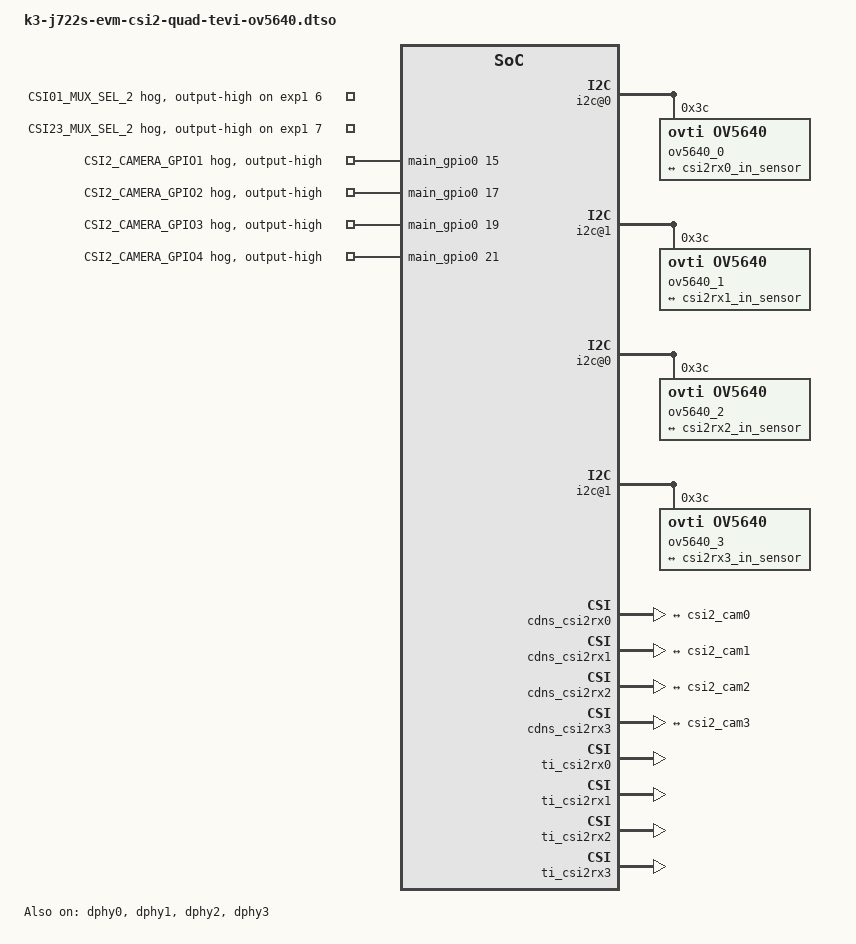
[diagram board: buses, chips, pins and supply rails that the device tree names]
// SPDX-License-Identifier: GPL-2.0
/*
 * 4 x TEVI OV5640 MIPI Camera module on RPI camera connector.
 *
 * Copyright (C) 2024 Texas Instruments Incorporated - https://www.ti.com/
 */

/dts-v1/;
/plugin/;

#include <dt-bindings/gpio/gpio.h>
#include "k3-pinctrl.h"

&{/} {
	clk_ov5640_fixed: ov5640-xclk {
		compatible = "fixed-clock";
		#clock-cells = <0>;
		clock-frequency = <24000000>;
	};
};


&main_pmx0 {
	cam0_reset_pins_default: cam0-reset-pins-default {
		pinctrl-single,pins = <
			J722S_IOPAD(0x03c, PIN_OUTPUT, 7)
		>;
	};

	cam1_reset_pins_default: cam1-reset-pins-default {
		pinctrl-single,pins = <
			J722S_IOPAD(0x044, PIN_OUTPUT, 7)
		>;
	};

	cam2_reset_pins_default: cam2-reset-pins-default {
		pinctrl-single,pins = <
			J722S_IOPAD(0x04c, PIN_OUTPUT, 7)
		>;
	};

	cam3_reset_pins_default: cam3-reset-pins-default {
		pinctrl-single,pins = <
			J722S_IOPAD(0x054, PIN_OUTPUT, 7)
		>;
	};
};

&exp1 {
	p06-hog{
		/* P06 - CSI01_MUX_SEL_2 */
		gpio-hog;
		gpios = <6 GPIO_ACTIVE_HIGH>;
		output-high;
		line-name = "CSI01_MUX_SEL_2";
	};

	p07-hog{
		/* P01 - CSI23_MUX_SEL_2 */
		gpio-hog;
		gpios = <7 GPIO_ACTIVE_HIGH>;
		output-high;
		line-name = "CSI23_MUX_SEL_2";
	};
};

&main_gpio0 {
	p15-hog {
		/* P15 - CSI2_CAMERA_GPIO1 */
		gpio-hog;
		gpios = <15 GPIO_ACTIVE_HIGH>;
		output-high;
		line-name = "CSI2_CAMERA_GPIO1";
	};

	p17-hog {
		/* P17 - CSI2_CAMERA_GPIO2 */
		gpio-hog;
		gpios = <17 GPIO_ACTIVE_HIGH>;
		output-high;
		line-name = "CSI2_CAMERA_GPIO2";
	};

	p19-hog {
		/* P19 - CSI2_CAMERA_GPIO3 */
		gpio-hog;
		gpios = <19 GPIO_ACTIVE_HIGH>;
		output-high;
		line-name = "CSI2_CAMERA_GPIO3";
	};

	p21-hog {
		/* P21 - CSI2_CAMERA_GPIO4 */
		gpio-hog;
		gpios = <21 GPIO_ACTIVE_HIGH>;
		output-high;
		line-name = "CSI2_CAMERA_GPIO4";
	};
};

&pca9543_0 {
	#address-cells = <1>;
	#size-cells = <0>;

	i2c-alias-pool = /bits/ 16 <0x3c 0x3d>;

	i2c@0 {
		#address-cells = <1>;
		#size-cells = <0>;
		reg = <0>;

		ov5640_0: camera@3c {
			compatible = "ovti,ov5640";
			reg = <0x3c>;
			clocks = <&clk_ov5640_fixed>;
			clock-names = "xclk";

			pinctrl-names = "default";
			pinctrl-0 = <&cam0_reset_pins_default>;

			port {
				csi2_cam0: endpoint {
					remote-endpoint = <&csi2rx0_in_sensor>;
					clock-lanes = <0>;
					data-lanes = <1 2>;
				};
			};
		};
	};

	i2c@1 {
		#address-cells = <1>;
		#size-cells = <0>;
		reg = <1>;

		ov5640_1: camera@3c {
			compatible = "ovti,ov5640";
			reg = <0x3c>;
			clocks = <&clk_ov5640_fixed>;
			clock-names = "xclk";

			pinctrl-names = "default";
			pinctrl-0 = <&cam1_reset_pins_default>;

			port {
				csi2_cam1: endpoint {
					remote-endpoint = <&csi2rx1_in_sensor>;
					clock-lanes = <0>;
					data-lanes = <1 2>;
				};
			};
		};
	};
};

&pca9543_1 {
	#address-cells = <1>;
	#size-cells = <0>;

	i2c-alias-pool = /bits/ 16 <0x3c 0x3d>;

	i2c@0 {
		#address-cells = <1>;
		#size-cells = <0>;
		reg = <0>;

		ov5640_2: camera@3c {
			compatible = "ovti,ov5640";
			reg = <0x3c>;
			clocks = <&clk_ov5640_fixed>;
			clock-names = "xclk";

			pinctrl-names = "default";
			pinctrl-0 = <&cam2_reset_pins_default>;

			port {
				csi2_cam2: endpoint {
					remote-endpoint = <&csi2rx2_in_sensor>;
					clock-lanes = <0>;
					data-lanes = <1 2>;
				};
			};
		};
	};

	i2c@1 {
		#address-cells = <1>;
		#size-cells = <0>;
		reg = <1>;

		ov5640_3: camera@3c {
			compatible = "ovti,ov5640";
			reg = <0x3c>;
			clocks = <&clk_ov5640_fixed>;
			clock-names = "xclk";

			pinctrl-names = "default";
			pinctrl-0 = <&cam3_reset_pins_default>;

			port {
				csi2_cam3: endpoint {
					remote-endpoint = <&csi2rx3_in_sensor>;
					clock-lanes = <0>;
					data-lanes = <1 2>;
				};
			};
		};
	};
};

&cdns_csi2rx0 {
	ports {
		#address-cells = <1>;
		#size-cells = <0>;

		csi0_port0: port@0 {
			reg = <0>;
			status = "okay";

			csi2rx0_in_sensor: endpoint {
				remote-endpoint = <&csi2_cam0>;
				bus-type = <4>; /* CSI2 DPHY */
				clock-lanes = <0>;
				data-lanes = <1 2>;
			};
		};
	};
};

&cdns_csi2rx1 {
	ports {
		#address-cells = <1>;
		#size-cells = <0>;

		csi1_port0: port@0 {
			reg = <0>;
			status = "okay";

			csi2rx1_in_sensor: endpoint {
				remote-endpoint = <&csi2_cam1>;
				bus-type = <4>; /* CSI2 DPHY */
				clock-lanes = <0>;
				data-lanes = <1 2>;
			};
		};
	};
};

&cdns_csi2rx2 {
	ports {
		#address-cells = <1>;
		#size-cells = <0>;

		csi2_port0: port@0 {
			reg = <0>;
			status = "okay";

			csi2rx2_in_sensor: endpoint {
				remote-endpoint = <&csi2_cam2>;
				bus-type = <4>; /* CSI2 DPHY */
				clock-lanes = <0>;
				data-lanes = <1 2>;
			};
		};
	};
};

&cdns_csi2rx3 {
	ports {
		#address-cells = <1>;
		#size-cells = <0>;

		csi3_port0: port@0 {
			reg = <0>;
			status = "okay";

			csi2rx3_in_sensor: endpoint {
				remote-endpoint = <&csi2_cam3>;
				bus-type = <4>; /* CSI2 DPHY */
				clock-lanes = <0>;
				data-lanes = <1 2>;
			};
		};
	};
};

&ti_csi2rx0 {
	status = "okay";
};

&dphy0 {
	status = "okay";
};

&ti_csi2rx1 {
	status = "okay";
};

&dphy1 {
	status = "okay";
};


&ti_csi2rx2 {
	status = "okay";
};

&dphy2 {
	status = "okay";
};


&ti_csi2rx3 {
	status = "okay";
};

&dphy3 {
	status = "okay";
};
